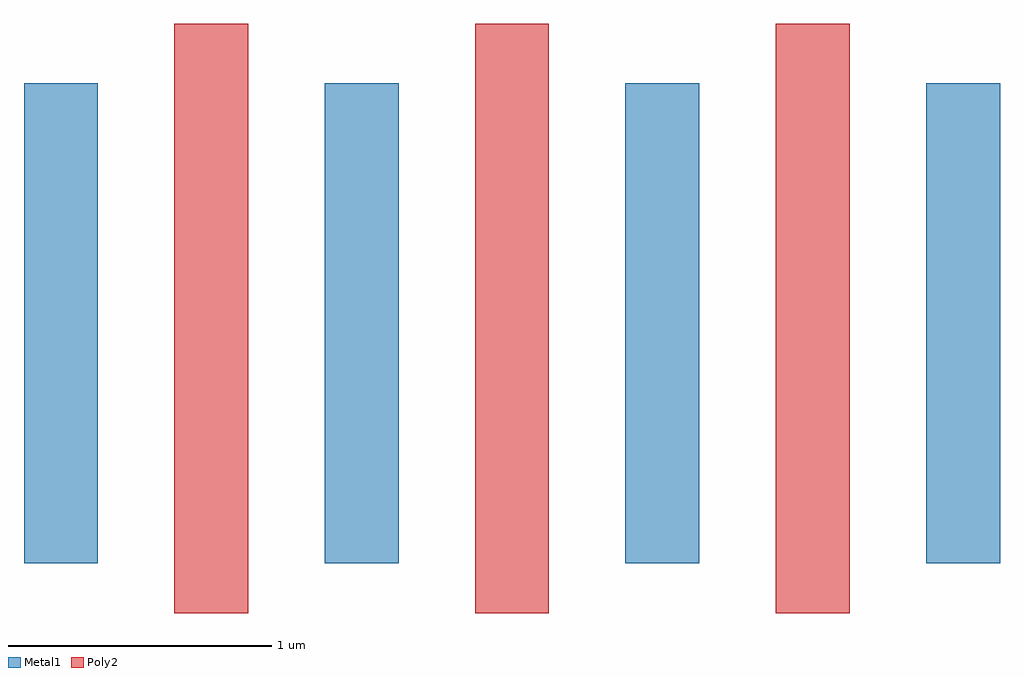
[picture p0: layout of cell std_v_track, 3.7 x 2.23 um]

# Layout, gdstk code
import gdstk
lib = gdstk.Library(unit=1e-6, precision=5e-09)
Poly2 = (30, 0)
Metal1 = (34, 0)

std_v_track = lib.new_cell('std_v_track')
std_v_track.add(gdstk.FlexPath([(1.85,2.235),(1.85,0)], 0.28, ends="flush", simple_path=True, layer=30, datatype=0))  # Poly2
std_v_track.add(gdstk.FlexPath([(0.71,2.235),(0.71,0)], 0.28, ends="flush", simple_path=True, layer=30, datatype=0))  # Poly2
std_v_track.add(gdstk.FlexPath([(2.99,2.235),(2.99,0)], 0.28, ends="flush", simple_path=True, layer=30, datatype=0))  # Poly2
std_v_track.add(gdstk.FlexPath([(2.42,2.01),(2.42,0.19)], 0.28, ends="flush", simple_path=True, layer=34, datatype=0))  # Metal1
std_v_track.add(gdstk.FlexPath([(1.28,2.01),(1.28,0.19)], 0.28, ends="flush", simple_path=True, layer=34, datatype=0))  # Metal1
std_v_track.add(gdstk.FlexPath([(0.14,2.01),(0.14,0.19)], 0.28, ends="flush", simple_path=True, layer=34, datatype=0))  # Metal1
std_v_track.add(gdstk.FlexPath([(3.56,2.01),(3.56,0.19)], 0.28, ends="flush", simple_path=True, layer=34, datatype=0))  # Metal1

lib.write_gds('std_v_track.gds')
